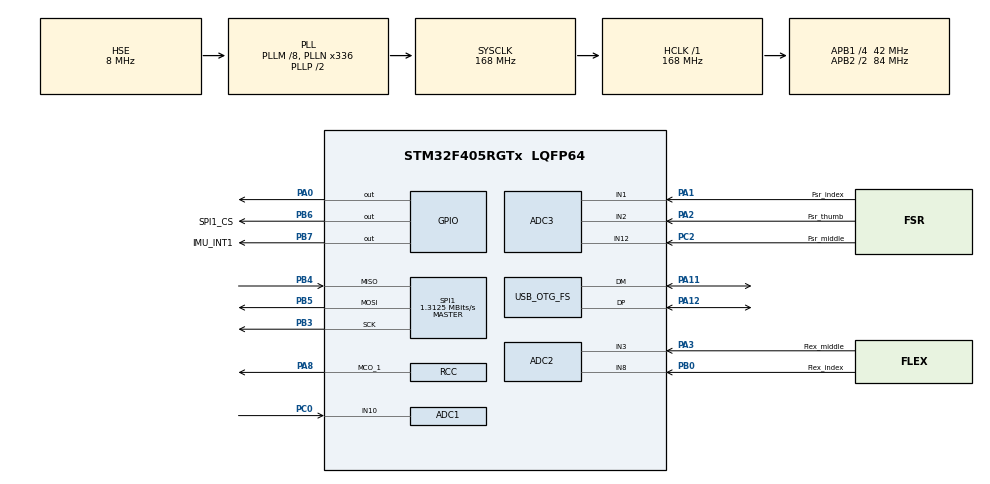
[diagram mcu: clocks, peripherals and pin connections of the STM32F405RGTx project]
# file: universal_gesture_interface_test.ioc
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ADC1.Channel-4\#ChannelRegularConversion=ADC_CHANNEL_10
ADC1.ContinuousConvMode=ENABLE
ADC1.DMAContinuousRequests=ENABLE
ADC1.EOCSelection=ADC_EOC_SEQ_CONV
ADC1.NbrOfConversionFlag=1
ADC1.Rank-4\#ChannelRegularConversion=1
ADC1.SamplingTime-4\#ChannelRegularConversion=ADC_SAMPLETIME_480CYCLES
ADC1.master=1
ADC2.Channel-4\#ChannelRegularConversion=ADC_CHANNEL_8
ADC2.Channel-5\#ChannelRegularConversion=ADC_CHANNEL_3
ADC2.ContinuousConvMode=ENABLE
ADC2.DMAContinuousRequests=ENABLE
ADC2.EOCSelection=ADC_EOC_SEQ_CONV
ADC2.NbrOfConversion=2
ADC2.NbrOfConversionFlag=1
ADC2.Rank-4\#ChannelRegularConversion=1
ADC2.Rank-5\#ChannelRegularConversion=2
ADC2.SamplingTime-4\#ChannelRegularConversion=ADC_SAMPLETIME_480CYCLES
ADC2.SamplingTime-5\#ChannelRegularConversion=ADC_SAMPLETIME_480CYCLES
ADC2.ScanConvMode=ENABLE
ADC3.Channel-2\#ChannelRegularConversion=ADC_CHANNEL_2
ADC3.Channel-3\#ChannelRegularConversion=ADC_CHANNEL_1
ADC3.Channel-4\#ChannelRegularConversion=ADC_CHANNEL_12
ADC3.ContinuousConvMode=ENABLE
ADC3.DMAContinuousRequests=ENABLE
ADC3.EOCSelection=ADC_EOC_SEQ_CONV
ADC3.NbrOfConversion=3
ADC3.NbrOfConversionFlag=1
ADC3.Rank-2\#ChannelRegularConversion=1
ADC3.Rank-3\#ChannelRegularConversion=2
ADC3.Rank-4\#ChannelRegularConversion=3
ADC3.SamplingTime-2\#ChannelRegularConversion=ADC_SAMPLETIME_56CYCLES
ADC3.SamplingTime-3\#ChannelRegularConversion=ADC_SAMPLETIME_56CYCLES
ADC3.SamplingTime-4\#ChannelRegularConversion=ADC_SAMPLETIME_56CYCLES
ADC3.ScanConvMode=ENABLE
Dma.ADC1.2.Direction=DMA_PERIPH_TO_MEMORY
Dma.ADC1.2.FIFOMode=DMA_FIFOMODE_DISABLE
Dma.ADC1.2.Instance=DMA2_Stream0
Dma.ADC1.2.MemDataAlignment=DMA_MDATAALIGN_HALFWORD
Dma.ADC1.2.MemInc=DMA_MINC_ENABLE
Dma.ADC1.2.Mode=DMA_CIRCULAR
Dma.ADC1.2.PeriphDataAlignment=DMA_PDATAALIGN_HALFWORD
Dma.ADC1.2.PeriphInc=DMA_PINC_DISABLE
Dma.ADC1.2.Priority=DMA_PRIORITY_LOW
Dma.ADC2.1.Direction=DMA_PERIPH_TO_MEMORY
Dma.ADC2.1.FIFOMode=DMA_FIFOMODE_DISABLE
Dma.ADC2.1.Instance=DMA2_Stream2
Dma.ADC2.1.MemDataAlignment=DMA_MDATAALIGN_HALFWORD
Dma.ADC2.1.MemInc=DMA_MINC_ENABLE
Dma.ADC2.1.Mode=DMA_CIRCULAR
Dma.ADC2.1.PeriphDataAlignment=DMA_PDATAALIGN_HALFWORD
Dma.ADC2.1.PeriphInc=DMA_PINC_DISABLE
Dma.ADC2.1.Priority=DMA_PRIORITY_LOW
Dma.ADC3.0.Direction=DMA_PERIPH_TO_MEMORY
Dma.ADC3.0.FIFOMode=DMA_FIFOMODE_DISABLE
Dma.ADC3.0.Instance=DMA2_Stream1
Dma.ADC3.0.MemDataAlignment=DMA_MDATAALIGN_HALFWORD
Dma.ADC3.0.MemInc=DMA_MINC_ENABLE
Dma.ADC3.0.Mode=DMA_CIRCULAR
Dma.ADC3.0.PeriphDataAlignment=DMA_PDATAALIGN_HALFWORD
Dma.ADC3.0.PeriphInc=DMA_PINC_DISABLE
Dma.ADC3.0.Priority=DMA_PRIORITY_LOW
Dma.Request0=ADC3
Dma.Request1=ADC2
Dma.Request2=ADC1
Mcu.Family=STM32F4
Mcu.Name=STM32F405RGTx
Mcu.Package=LQFP64
NVIC.DMA2_Stream0_IRQn=true\:0\:0\:false\:false\:true\:false\:true\:true
NVIC.DMA2_Stream1_IRQn=true\:0\:0\:false\:false\:true\:false\:true\:true
NVIC.DMA2_Stream2_IRQn=true\:0\:0\:false\:false\:true\:false\:true\:true
NVIC.OTG_FS_IRQn=true\:0\:0\:false\:false\:true\:false\:true\:true
NVIC.PriorityGroup=NVIC_PRIORITYGROUP_4
PA0-WKUP.Signal=GPIO_Output
PA1.GPIO_Label=Fsr_index
PA1.Signal=ADCx_IN1
PA11.Mode=Device_Only
PA11.Signal=USB_OTG_FS_DM
PA12.Mode=Device_Only
PA12.Signal=USB_OTG_FS_DP
PA13.Signal=SYS_JTMS-SWDIO
PA14.Signal=SYS_JTCK-SWCLK
PA2.GPIO_Label=Fsr_thumb
PA2.Signal=ADCx_IN2
PA3.GPIO_Label=Flex_middle
PA3.Signal=ADCx_IN3
PA8.Mode=Clock-out-1
PA8.Signal=RCC_MCO_1
PA9.Signal=USB_OTG_FS_VBUS
PB0.GPIO_Label=Flex_index
PB0.Signal=ADCx_IN8
PB3.Mode=Full_Duplex_Master
PB3.Signal=SPI1_SCK
PB4.Mode=Full_Duplex_Master
PB4.Signal=SPI1_MISO
PB5.Mode=Full_Duplex_Master
PB5.Signal=SPI1_MOSI
PB6.GPIO_Label=SPI1_CS
PB6.GPIO_PuPd=GPIO_NOPULL
PB6.Signal=GPIO_Output
PB7.GPIO_Label=IMU_INT1
PB7.Signal=GPIO_Output
PC0.Signal=ADCx_IN10
PC2.GPIO_Label=Fsr_middle
PC2.Signal=ADCx_IN12
PH0-OSC_IN.Mode=HSE-External-Oscillator
PH0-OSC_IN.Signal=RCC_OSC_IN
PH1-OSC_OUT.Mode=HSE-External-Oscillator
PH1-OSC_OUT.Signal=RCC_OSC_OUT
ProjectManager.HeapSize=0x200
ProjectManager.StackSize=0x400
ProjectManager.TargetToolchain=STM32CubeIDE
RCC.48MHZClocksFreq_Value=48000000
RCC.AHBFreq_Value=168000000
RCC.APB1CLKDivider=RCC_HCLK_DIV4
RCC.APB1Freq_Value=42000000
RCC.APB1TimFreq_Value=84000000
RCC.APB2CLKDivider=RCC_HCLK_DIV2
RCC.APB2Freq_Value=84000000
RCC.APB2TimFreq_Value=168000000
RCC.CortexFreq_Value=168000000
RCC.HCLKFreq_Value=168000000
RCC.HSE_VALUE=8000000
RCC.HSI_VALUE=16000000
RCC.LSE_VALUE=32768
RCC.PLLM=8
RCC.PLLN=336
RCC.PLLQ=7
RCC.SYSCLKFreq_VALUE=168000000
RCC.SYSCLKSource=RCC_SYSCLKSOURCE_PLLCLK
RCC.VCOOutputFreq_Value=336000000
SH.ADCx_IN1.0=ADC3_IN1,IN1
SH.ADCx_IN10.0=ADC1_IN10,IN10
SH.ADCx_IN12.0=ADC3_IN12,IN12
SH.ADCx_IN2.0=ADC3_IN2,IN2
SH.ADCx_IN3.0=ADC2_IN3,IN3
SH.ADCx_IN8.0=ADC2_IN8,IN8
SPI1.BaudRatePrescaler=SPI_BAUDRATEPRESCALER_64
SPI1.CLKPhase=SPI_PHASE_2EDGE
SPI1.CLKPolarity=SPI_POLARITY_HIGH
SPI1.CalculateBaudRate=1.3125 MBits/s
SPI1.Direction=SPI_DIRECTION_2LINES
SPI1.Mode=SPI_MODE_MASTER
SPI1.VirtualType=VM_MASTER
USB_DEVICE.CLASS_NAME_FS=HID
USB_DEVICE.VirtualMode-HID_FS=Hid
USB_DEVICE.VirtualModeFS=Hid_FS
USB_OTG_FS.VirtualMode=Device_Only
VP_USB_DEVICE_VS_USB_DEVICE_HID_FS.Mode=HID_FS
board=custom

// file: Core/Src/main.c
/* USER CODE BEGIN Header */
/**
  ******************************************************************************
  * @file           : main.c
  * @brief          : Main program body
  ******************************************************************************
  * @attention
  *
  * Copyright (c) 2026 STMicroelectronics.
  * All rights reserved.
  *
  * This software is licensed under terms that can be found in the LICENSE file
  * in the root directory of this software component.
  * If no LICENSE file comes with this software, it is provided AS-IS.
  *
  ******************************************************************************
  */
/* USER CODE END Header */
#include "main.h"
#include "usb_device.h"

/* USER CODE BEGIN Includes */
#include "imu.h"
#include "motion_processing.h"
#include "flex_sensor.h"
#include "utils.h"
#include "static_gesture.h"
#include "dynamic_gesture.h"
#include "communication.h"
#include "keyboard_mouse.h"
/* USER CODE END Includes */

ADC_HandleTypeDef hadc1;
ADC_HandleTypeDef hadc2;
ADC_HandleTypeDef hadc3;
DMA_HandleTypeDef hdma_adc1;
DMA_HandleTypeDef hdma_adc2;
DMA_HandleTypeDef hdma_adc3;

SPI_HandleTypeDef hspi1;

/* USER CODE BEGIN PV */

// Sensor state variables
float raw_accel[3] = { 0, 0, 0 };
float total_accel[3] = { 0, 0, 0 };
float accel[3] = { 0, 0, 0 };
float grav[3] = { 0, 0, -1 };
float gyro[3] = { 0, 0, 0 };
float vel[3] = { 0, 0, 0 };
float flex_thumb = 0;
float flex_index = 0;
float flex_middle = 0;

StaticGesture current_gesture = NONE;

/* USER CODE END PV */

void SystemClock_Config(void);
static void MX_GPIO_Init(void);
static void MX_DMA_Init(void);
static void MX_ADC1_Init(void);
static void MX_ADC2_Init(void);
static void MX_SPI1_Init(void);
static void MX_ADC3_Init(void);

int main(void)
{

  /* MCU Configuration--------------------------------------------------------*/

  /* Reset of all peripherals, Initializes the Flash interface and the Systick. */
  HAL_Init();

  /* Configure the system clock */
  SystemClock_Config();

  /* Initialize all configured peripherals */
  MX_GPIO_Init();
  MX_DMA_Init();
  MX_ADC1_Init();
  MX_ADC2_Init();
  MX_SPI1_Init();
  MX_USB_DEVICE_Init();
  MX_ADC3_Init();
  /* USER CODE BEGIN 2 */

  volatile uint16_t flex_reg1 = 0;				// Thumb
  volatile uint16_t flex_reg2[2] = { 0, 0 };	// Index, middle
  volatile uint16_t fsr_reg[3] = { 0, 0, 0 };	// Thumb, index, middle
  IMU_Init(&hspi1);
  HAL_ADC_Start_DMA(&hadc1, (uint32_t*)(&flex_reg1), 1);
  HAL_ADC_Start_DMA(&hadc2, (uint32_t*)flex_reg2, 2);
  HAL_ADC_Start_DMA(&hadc3, (uint32_t*)fsr_reg, 3);

  float lp_vel[3] = { 0, 0, 0 };
  float prev[3] = { 0, 0, 0 };
  float hp[3] = { 0, 0, 0 };

  uint32_t prev_timestamp = 0;
  uint32_t current_timestamp = 0;
  uint32_t dt = 0;
  char buf[64];		// Temp, just for debug outputs

  uint32_t tick;

  // Event handlers
  PeriodicEventHandler sendUpdates = NewPeriodicEvent(10);
  PeriodicEventHandler pollUpdate = NewPeriodicEvent(1);
  StaticEventHandler fingerGunHandler = NewStaticEventHandler();
  StaticEventHandler thumbsUpHandler = NewStaticEventHandler();
  StaticEventHandler thumbsMiddleHandler = NewStaticEventHandler();
  StaticEventHandler thumbsDownHandler = NewStaticEventHandler();
  SpikeTrigger bangHandler = NewSpikeTrigger(0.05, 0.8);

  /* USER CODE END 2 */

  /* Infinite loop */
  /* USER CODE BEGIN WHILE */
  while (1)
  {
	 tick = HAL_GetTick();

	while (shouldTick(tick, &pollUpdate)) {
		// Get elapsed time since last tick
		current_timestamp = tick;
		dt = current_timestamp - prev_timestamp;
		prev_timestamp = current_timestamp;

		// Read IMU values and rotate
		IMU_ReadAccel(&hspi1, raw_accel);
		IMU_ReadGyro(&hspi1, gyro);

		// Rotate to cancel out effect of rotated IMU
		RotateData(&raw_accel[0], &raw_accel[1]);
		RotateData(&gyro[0], &gyro[1]);

		// Testing out filtering
		AccelLPF(raw_accel, total_accel, 0.5);

		// Gravity calculation
		RotateGravity(grav, gyro, 0.001);
		StabilizeGravity(grav, total_accel, 0.1);

		// Subtract gravity from acceleration
		accel[0] = total_accel[0] - grav[0];
		accel[1] = total_accel[1] - grav[1];
		accel[2] = total_accel[2] - grav[2];

		AccelToVel(accel, vel, 0.98, 0.001f);
		VelLPF(vel, lp_vel, 0.25);

		// Record and remap flex sensor values
		//	- Remapping values determined from personal tests/recordings. May vary based on hardware
		float flex_thumb_raw = FlexRemap(flex_reg1, 985, 1075);
		float flex_index_raw = FlexRemap(flex_reg2[0], 2300, 950);
		float flex_middle_raw = FlexRemap(flex_reg2[1], 1800, 550);

		// Apply lpf to flex sensor values
		FlexLPF(flex_thumb_raw, &flex_thumb, 0.05);
		FlexLPF(flex_index_raw, &flex_index, 0.05);
		FlexLPF(flex_middle_raw, &flex_middle, 0.05);

		// Handle static gestures
		if (should_trigger_gesture(&fingerGunHandler, is_finger_gun())) {
			current_gesture = FINGER_GUN;
			send_gesture_msg(FINGER_GUN);
		}

		if (should_trigger_gesture(&thumbsUpHandler, is_thumbs_up())) {
			current_gesture = THUMBS_UP;
			send_gesture_msg(THUMBS_UP);
		}

		if (should_trigger_gesture(&thumbsMiddleHandler, is_thumbs_middle())) {
			current_gesture = THUMBS_MIDDLE;
			send_gesture_msg(THUMBS_MIDDLE);
		}

		if (should_trigger_gesture(&thumbsDownHandler, is_thumbs_down())) {
			current_gesture = THUMBS_DOWN;
			send_gesture_msg(THUMBS_DOWN);
		}

		if (should_trigger_spike_event(&bangHandler, gyro[2] * 0.001)) {
			send_gesture_msg(BANG);
		}
	}

	// Send sensor updates at 100Hz
	while (shouldTick(tick, &sendUpdates)) {
		SensorUpdatePacket msg;
		msg.topic = 0;
		msg.accel_x = lp_vel[0];
		msg.accel_y = lp_vel[1];
		msg.accel_z = lp_vel[2];
		msg.grav_x = grav[0];
		msg.grav_y = grav[1];
		msg.grav_z = grav[2];
		msg.gyro_x = gyro[0];
		msg.gyro_y = gyro[1];
		msg.gyro_z = gyro[2];
		msg.flex_thumb = flex_thumb;
		msg.flex_index = flex_index;
		msg.flex_middle = flex_middle;
		msg.fsr_thumb = fsr_reg[0];
		msg.fsr_index = fsr_reg[1];
		msg.fsr_middle = fsr_reg[2];

		memcpy(buf, &msg, sizeof(msg));

		//USBD_HID_SendRaw(&hUsbDeviceFS, (uint8_t*)buf, sizeof(buf));

		//int8_t mouseReport[4] = {0, (int8_t) {vel[0] * 8000.0f}, (int8_t) {vel[1] * 8000.0f}, 0};
		//USBD_HID_SendReport(&hUsbDeviceFS, mouseReport, 4);

		//Basic mouse and keyboard test:
		// for testing

		// AUTO RELEASE:
		//HID_Task(); // call this every time, makes HID_SendKey automatically release.
		// Trigger keypress
		//HID_SendKey(KEY_MOD_LSHIFT, KEY_A); //sends key as fast as possible without blocking

		//OR: Manually trigger press/release:
		//HID_KeyPress(0, KEY_W);
		//HAL_Delay(15);
		//HID_KeyRelease();
		//HAL_Delay(15);
		// Send mouse movement:
		HID_SendMouse(0, 1, 1, 0);

		/* FOR HID DATA SEND:*/
		// Send a string
		char message[63];
		sprintf(message, "balls");
		USBD_HID_SendRaw(&hUsbDeviceFS, (uint8_t*)message, strlen(message));

		// Or send raw bytes
		//uint8_t data[] = {0xAB, 0xCD, 0xEF};
		//USBD_HID_SendRaw(&hUsbDeviceFS, data, sizeof(data));
	}

	//WHOAMI response test:

    /*uint8_t tx[2] = {0x8F, 0x00};   //WHOAMI/Dummy byte
  	uint8_t rx[2];
    CS_LOW();
    HAL_SPI_TransmitReceive(&hspi1, tx, rx, 2, HAL_MAX_DELAY);
    CS_HIGH();

    sprintf(buf, "IMU HWOAMI resp: %02X\r\n", rx[1]);
    CDC_Transmit_FS((uint8_t*)buf, strlen(buf));*/

    //sprintf(buf, "%d\r\n", fsr_reg);
    //CDC_Transmit_FS((uint8_t*)buf, strlen(buf));

    /* USER CODE END WHILE */

  }
}

void SystemClock_Config(void)
{
  RCC_OscInitTypeDef RCC_OscInitStruct = {0};
  RCC_ClkInitTypeDef RCC_ClkInitStruct = {0};

  /** Configure the main internal regulator output voltage
  */
  __HAL_RCC_PWR_CLK_ENABLE();
  __HAL_PWR_VOLTAGESCALING_CONFIG(PWR_REGULATOR_VOLTAGE_SCALE1);

  /** Initializes the RCC Oscillators according to the specified parameters
  * in the RCC_OscInitTypeDef structure.
  */
  RCC_OscInitStruct.OscillatorType = RCC_OSCILLATORTYPE_HSI|RCC_OSCILLATORTYPE_HSE;
  RCC_OscInitStruct.HSEState = RCC_HSE_ON;
  RCC_OscInitStruct.HSIState = RCC_HSI_ON;
  RCC_OscInitStruct.HSICalibrationValue = RCC_HSICALIBRATION_DEFAULT;
  RCC_OscInitStruct.PLL.PLLState = RCC_PLL_ON;
  RCC_OscInitStruct.PLL.PLLSource = RCC_PLLSOURCE_HSE;
  RCC_OscInitStruct.PLL.PLLM = 8;
  RCC_OscInitStruct.PLL.PLLN = 336;
  RCC_OscInitStruct.PLL.PLLP = RCC_PLLP_DIV2;
  RCC_OscInitStruct.PLL.PLLQ = 7;
  if (HAL_RCC_OscConfig(&RCC_OscInitStruct) != HAL_OK)
  {
    Error_Handler();
  }

  /** Initializes the CPU, AHB and APB buses clocks
  */
  RCC_ClkInitStruct.ClockType = RCC_CLOCKTYPE_HCLK|RCC_CLOCKTYPE_SYSCLK
                              |RCC_CLOCKTYPE_PCLK1|RCC_CLOCKTYPE_PCLK2;
  RCC_ClkInitStruct.SYSCLKSource = RCC_SYSCLKSOURCE_PLLCLK;
  RCC_ClkInitStruct.AHBCLKDivider = RCC_SYSCLK_DIV1;
  RCC_ClkInitStruct.APB1CLKDivider = RCC_HCLK_DIV4;
  RCC_ClkInitStruct.APB2CLKDivider = RCC_HCLK_DIV2;

  if (HAL_RCC_ClockConfig(&RCC_ClkInitStruct, FLASH_LATENCY_5) != HAL_OK)
  {
    Error_Handler();
  }
  HAL_RCC_MCOConfig(RCC_MCO1, RCC_MCO1SOURCE_HSI, RCC_MCODIV_1);
}

static void MX_ADC1_Init(void)
{

  ADC_ChannelConfTypeDef sConfig = {0};

  /** Configure the global features of the ADC (Clock, Resolution, Data Alignment and number of conversion)
  */
  hadc1.Instance = ADC1;
  hadc1.Init.ClockPrescaler = ADC_CLOCK_SYNC_PCLK_DIV4;
  hadc1.Init.Resolution = ADC_RESOLUTION_12B;
  hadc1.Init.ScanConvMode = DISABLE;
  hadc1.Init.ContinuousConvMode = ENABLE;
  hadc1.Init.DiscontinuousConvMode = DISABLE;
  hadc1.Init.ExternalTrigConvEdge = ADC_EXTERNALTRIGCONVEDGE_NONE;
  hadc1.Init.ExternalTrigConv = ADC_SOFTWARE_START;
  hadc1.Init.DataAlign = ADC_DATAALIGN_RIGHT;
  hadc1.Init.NbrOfConversion = 1;
  hadc1.Init.DMAContinuousRequests = ENABLE;
  hadc1.Init.EOCSelection = ADC_EOC_SEQ_CONV;
  if (HAL_ADC_Init(&hadc1) != HAL_OK)
  {
    Error_Handler();
  }

  /** Configure for the selected ADC regular channel its corresponding rank in the sequencer and its sample time.
  */
  sConfig.Channel = ADC_CHANNEL_10;
  sConfig.Rank = 1;
  sConfig.SamplingTime = ADC_SAMPLETIME_480CYCLES;
  if (HAL_ADC_ConfigChannel(&hadc1, &sConfig) != HAL_OK)
  {
    Error_Handler();
  }

}

static void MX_ADC2_Init(void)
{

  ADC_ChannelConfTypeDef sConfig = {0};

  /** Configure the global features of the ADC (Clock, Resolution, Data Alignment and number of conversion)
  */
  hadc2.Instance = ADC2;
  hadc2.Init.ClockPrescaler = ADC_CLOCK_SYNC_PCLK_DIV4;
  hadc2.Init.Resolution = ADC_RESOLUTION_12B;
  hadc2.Init.ScanConvMode = ENABLE;
  hadc2.Init.ContinuousConvMode = ENABLE;
  hadc2.Init.DiscontinuousConvMode = DISABLE;
  hadc2.Init.ExternalTrigConvEdge = ADC_EXTERNALTRIGCONVEDGE_NONE;
  hadc2.Init.ExternalTrigConv = ADC_SOFTWARE_START;
  hadc2.Init.DataAlign = ADC_DATAALIGN_RIGHT;
  hadc2.Init.NbrOfConversion = 2;
  hadc2.Init.DMAContinuousRequests = ENABLE;
  hadc2.Init.EOCSelection = ADC_EOC_SEQ_CONV;
  if (HAL_ADC_Init(&hadc2) != HAL_OK)
  {
    Error_Handler();
  }

  /** Configure for the selected ADC regular channel its corresponding rank in the sequencer and its sample time.
  */
  sConfig.Channel = ADC_CHANNEL_8;
  sConfig.Rank = 1;
  sConfig.SamplingTime = ADC_SAMPLETIME_480CYCLES;
  if (HAL_ADC_ConfigChannel(&hadc2, &sConfig) != HAL_OK)
  {
    Error_Handler();
  }

  /** Configure for the selected ADC regular channel its corresponding rank in the sequencer and its sample time.
  */
  sConfig.Channel = ADC_CHANNEL_3;
  sConfig.Rank = 2;
  if (HAL_ADC_ConfigChannel(&hadc2, &sConfig) != HAL_OK)
  {
    Error_Handler();
  }

}

static void MX_ADC3_Init(void)
{

  ADC_ChannelConfTypeDef sConfig = {0};

  /** Configure the global features of the ADC (Clock, Resolution, Data Alignment and number of conversion)
  */
  hadc3.Instance = ADC3;
  hadc3.Init.ClockPrescaler = ADC_CLOCK_SYNC_PCLK_DIV4;
  hadc3.Init.Resolution = ADC_RESOLUTION_12B;
  hadc3.Init.ScanConvMode = ENABLE;
  hadc3.Init.ContinuousConvMode = ENABLE;
  hadc3.Init.DiscontinuousConvMode = DISABLE;
  hadc3.Init.ExternalTrigConvEdge = ADC_EXTERNALTRIGCONVEDGE_NONE;
  hadc3.Init.ExternalTrigConv = ADC_SOFTWARE_START;
  hadc3.Init.DataAlign = ADC_DATAALIGN_RIGHT;
  hadc3.Init.NbrOfConversion = 3;
  hadc3.Init.DMAContinuousRequests = ENABLE;
  hadc3.Init.EOCSelection = ADC_EOC_SEQ_CONV;
  if (HAL_ADC_Init(&hadc3) != HAL_OK)
  {
    Error_Handler();
  }

  /** Configure for the selected ADC regular channel its corresponding rank in the sequencer and its sample time.
  */
  sConfig.Channel = ADC_CHANNEL_2;
  sConfig.Rank = 1;
  sConfig.SamplingTime = ADC_SAMPLETIME_56CYCLES;
  if (HAL_ADC_ConfigChannel(&hadc3, &sConfig) != HAL_OK)
  {
    Error_Handler();
  }

  /** Configure for the selected ADC regular channel its corresponding rank in the sequencer and its sample time.
  */
  sConfig.Channel = ADC_CHANNEL_1;
  sConfig.Rank = 2;
  if (HAL_ADC_ConfigChannel(&hadc3, &sConfig) != HAL_OK)
  {
    Error_Handler();
  }

  /** Configure for the selected ADC regular channel its corresponding rank in the sequencer and its sample time.
  */
  sConfig.Channel = ADC_CHANNEL_12;
  sConfig.Rank = 3;
  if (HAL_ADC_ConfigChannel(&hadc3, &sConfig) != HAL_OK)
  {
    Error_Handler();
  }

}

static void MX_SPI1_Init(void)
{

  /* SPI1 parameter configuration*/
  hspi1.Instance = SPI1;
  hspi1.Init.Mode = SPI_MODE_MASTER;
  hspi1.Init.Direction = SPI_DIRECTION_2LINES;
  hspi1.Init.DataSize = SPI_DATASIZE_8BIT;
  hspi1.Init.CLKPolarity = SPI_POLARITY_HIGH;
  hspi1.Init.CLKPhase = SPI_PHASE_2EDGE;
  hspi1.Init.NSS = SPI_NSS_SOFT;
  hspi1.Init.BaudRatePrescaler = SPI_BAUDRATEPRESCALER_64;
  hspi1.Init.FirstBit = SPI_FIRSTBIT_MSB;
  hspi1.Init.TIMode = SPI_TIMODE_DISABLE;
  hspi1.Init.CRCCalculation = SPI_CRCCALCULATION_DISABLE;
  hspi1.Init.CRCPolynomial = 10;
  if (HAL_SPI_Init(&hspi1) != HAL_OK)
  {
    Error_Handler();
  }

}

static void MX_DMA_Init(void)
{

  /* DMA controller clock enable */
  __HAL_RCC_DMA2_CLK_ENABLE();

  /* DMA interrupt init */
  /* DMA2_Stream0_IRQn interrupt configuration */
  HAL_NVIC_SetPriority(DMA2_Stream0_IRQn, 0, 0);
  HAL_NVIC_EnableIRQ(DMA2_Stream0_IRQn);
  /* DMA2_Stream1_IRQn interrupt configuration */
  HAL_NVIC_SetPriority(DMA2_Stream1_IRQn, 0, 0);
  HAL_NVIC_EnableIRQ(DMA2_Stream1_IRQn);
  /* DMA2_Stream2_IRQn interrupt configuration */
  HAL_NVIC_SetPriority(DMA2_Stream2_IRQn, 0, 0);
  HAL_NVIC_EnableIRQ(DMA2_Stream2_IRQn);

}

static void MX_GPIO_Init(void)
{
  GPIO_InitTypeDef GPIO_InitStruct = {0};

  /* GPIO Ports Clock Enable */
  __HAL_RCC_GPIOH_CLK_ENABLE();
  __HAL_RCC_GPIOC_CLK_ENABLE();
  __HAL_RCC_GPIOA_CLK_ENABLE();
  __HAL_RCC_GPIOB_CLK_ENABLE();

  /*Configure GPIO pin Output Level */
  HAL_GPIO_WritePin(GPIOA, GPIO_PIN_0, GPIO_PIN_RESET);

  /*Configure GPIO pin Output Level */
  HAL_GPIO_WritePin(GPIOB, SPI1_CS_Pin|IMU_INT1_Pin, GPIO_PIN_RESET);

  /*Configure GPIO pin : PA0 */
  GPIO_InitStruct.Pin = GPIO_PIN_0;
  GPIO_InitStruct.Mode = GPIO_MODE_OUTPUT_PP;
  GPIO_InitStruct.Pull = GPIO_NOPULL;
  GPIO_InitStruct.Speed = GPIO_SPEED_FREQ_LOW;
  HAL_GPIO_Init(GPIOA, &GPIO_InitStruct);

  /*Configure GPIO pin : PA8 */
  GPIO_InitStruct.Pin = GPIO_PIN_8;
  GPIO_InitStruct.Mode = GPIO_MODE_AF_PP;
  GPIO_InitStruct.Pull = GPIO_NOPULL;
  GPIO_InitStruct.Speed = GPIO_SPEED_FREQ_LOW;
  GPIO_InitStruct.Alternate = GPIO_AF0_MCO;
  HAL_GPIO_Init(GPIOA, &GPIO_InitStruct);

  /*Configure GPIO pins : SPI1_CS_Pin IMU_INT1_Pin */
  GPIO_InitStruct.Pin = SPI1_CS_Pin|IMU_INT1_Pin;
  GPIO_InitStruct.Mode = GPIO_MODE_OUTPUT_PP;
  GPIO_InitStruct.Pull = GPIO_NOPULL;
  GPIO_InitStruct.Speed = GPIO_SPEED_FREQ_LOW;
  HAL_GPIO_Init(GPIOB, &GPIO_InitStruct);

}

void Error_Handler(void)
{
  __disable_irq();
  while (1)
  {
  }
}
